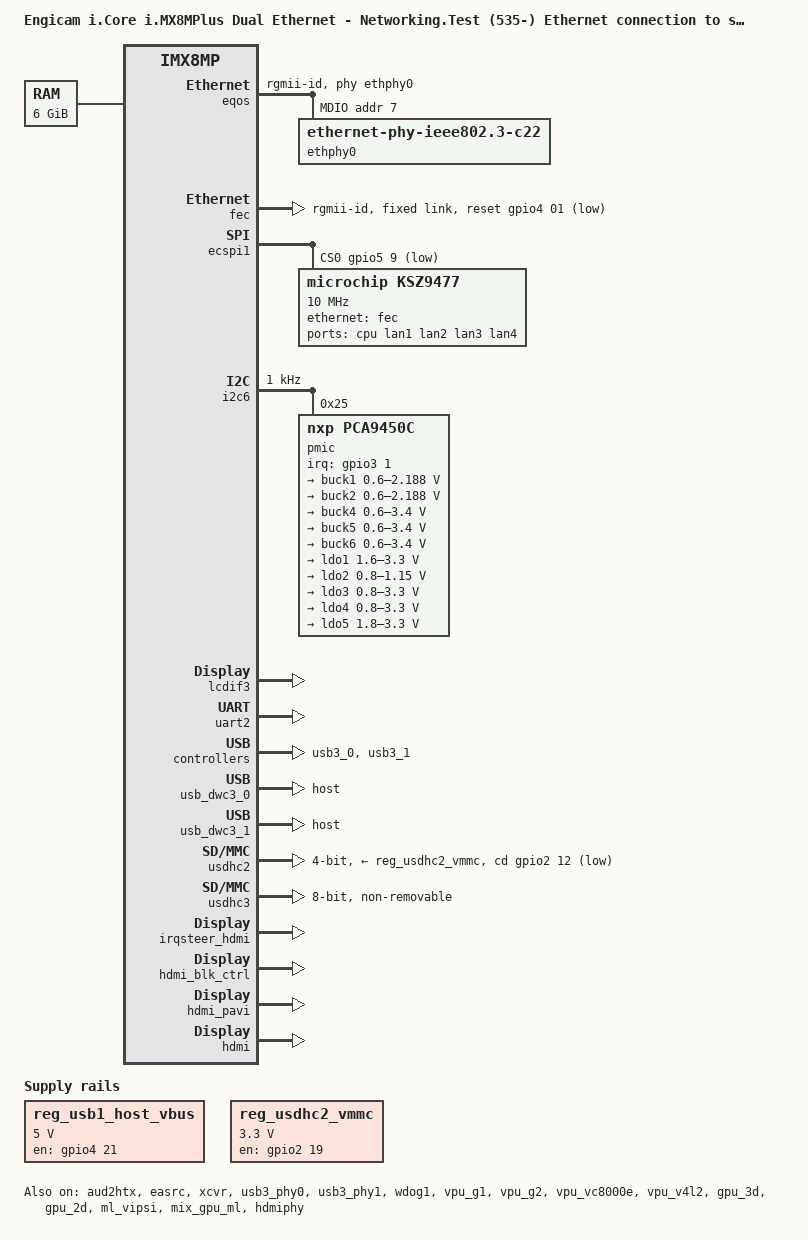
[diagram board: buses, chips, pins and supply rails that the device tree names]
// SPDX-License-Identifier: (GPL-2.0+ OR MIT)
/*
 * Copyright 2020 Engicam
 */

/dts-v1/;

#include <dt-bindings/usb/pd.h>
#include "../freescale/imx8mp.dtsi"


/ {
	model = "Engicam i.Core i.MX8MPlus  Dual Ethernet - Networking.Test (535-) Ethernet connection to switch";
	compatible = "engi,icore-imx8mp", "fsl,imx8mp";

	chosen {
		stdout-path = &uart2;
	};
	
	aliases {
		rtc1 = &snvs_rtc;
	};
		
	memory@40000000 {
		device_type = "memory";
		reg = <0x0 0x40000000 0 0xc0000000>,
		      <0x1 0x00000000 0 0xc0000000>;
	};

	reg_usb1_host_vbus: regulator-usb1-vbus {
		compatible = "regulator-fixed";
		regulator-name = "usb1_host_vbus";
		pinctrl-names = "default";
		pinctrl-0 = <&pinctrl_usb1_vbus>;
		regulator-min-microvolt = <5000000>;
		regulator-max-microvolt = <5000000>;
		gpio = <&gpio4 21 GPIO_ACTIVE_HIGH>;
		enable-active-high;
		regulator-always-on;
	};

	reg_usdhc2_vmmc: regulator-usdhc2 {
		compatible = "regulator-fixed";
		regulator-name = "VSD_3V3";
		regulator-min-microvolt = <3300000>;
		regulator-max-microvolt = <3300000>;
		gpio = <&gpio2 19 GPIO_ACTIVE_HIGH>;
		enable-active-high;
		startup-delay-us = <100>;
		off-on-delay-us = <12000>;
	};

	sound-hdmi {
		compatible = "fsl,imx-audio-cdnhdmi";
		model = "audio-hdmi";
		audio-cpu = <&aud2htx>;
		hdmi-out;
		constraint-rate = <44100>,
				<88200>,
				<176400>,
				<32000>,
				<48000>,
				<96000>,
				<192000>;
		status = "okay";
	};

};

&aud2htx {
	status = "okay";
};

&clk {
	init-on-array = <IMX8MP_CLK_HSIO_ROOT>;
};

&A53_0 {
	cpu-supply = <&buck2>;
};

&A53_1 {
	cpu-supply = <&buck2>;
};

&A53_2 {
	cpu-supply = <&buck2>;
};

&A53_3 {
	cpu-supply = <&buck2>;
};

&eqos {
	pinctrl-names = "default";
	pinctrl-0 = <&pinctrl_eqos>;
	phy-mode = "rgmii-id";
	phy-handle = <&ethphy0>;
	snps,force_thresh_dma_mode;
	snps,mtl-tx-config = <&mtl_tx_setup>;
	snps,mtl-rx-config = <&mtl_rx_setup>;
	status = "okay";

	mdio {
		compatible = "snps,dwmac-mdio";
		#address-cells = <1>;
		#size-cells = <0>;

		ethphy0: ethernet-phy@7 {
			compatible = "ethernet-phy-ieee802.3-c22";
			reg = <7>;
			eee-broken-1000t;
			realtek,clkout-disable;
		};
	};

	mtl_tx_setup: tx-queues-config {
		snps,tx-queues-to-use = <5>;
		snps,tx-sched-sp;
		queue0 {
			snps,dcb-algorithm;
			snps,priority = <0x1>;
		};
		queue1 {
			snps,dcb-algorithm;
			snps,priority = <0x2>;
		};
		queue2 {
			snps,dcb-algorithm;
			snps,priority = <0x4>;
		};
		queue3 {
			snps,dcb-algorithm;
			snps,priority = <0x8>;
		};
		queue4 {
			snps,dcb-algorithm;
			snps,priority = <0xf0>;
		};
	};
	mtl_rx_setup: rx-queues-config {
		snps,rx-queues-to-use = <5>;
		snps,rx-sched-sp;
		queue0 {
			snps,dcb-algorithm;
			snps,priority = <0x1>;
			snps,map-to-dma-channel = <0>;
		};
		queue1 {
			snps,dcb-algorithm;
			snps,priority = <0x2>;
			snps,map-to-dma-channel = <1>;
		};
		queue2 {
			snps,dcb-algorithm;
			snps,priority = <0x4>;
			snps,map-to-dma-channel = <2>;
		};
		queue3 {
			snps,dcb-algorithm;
			snps,priority = <0x8>;
			snps,map-to-dma-channel = <3>;
		};
		queue4 {
			snps,dcb-algorithm;
			snps,priority = <0xf0>;
			snps,map-to-dma-channel = <4>;
		};
	};
};

&fec {
	pinctrl-names = "default";
	pinctrl-0 = <&pinctrl_fec>;
	phy-mode = "rgmii-id";
	fsl,magic-packet;
	status = "okay";

	snps,reset-gpio = <&gpio4 01 GPIO_ACTIVE_LOW>;
	snps,reset-active-low;

	fixed-link {
	    speed = <1000>;
	    full-duplex;
	};
};


&ecspi1{

       fsl,spi-num-chipselects = <1>;
       pinctrl-names = "default";
       pinctrl-0 = <&pinctrl_ecspi1 &pinctrl_ecspi1_cs>;
       cs-gpios = <&gpio5 9 GPIO_ACTIVE_LOW>;
       id = <1>;
       status = "okay";

       ksz9477: ksz9477@0 {
               compatible = "microchip,ksz9477";
               #address-cells = <1>;
               #size-cells = <0>;
               reg = <0>;

               spi-max-frequency = <10000000>;
               spi-cpha;
               spi-cpol;
               status = "okay";

               ports {
                       #address-cells = <1>;
                       #size-cells = <0>;
                       
                       //Phy Mode
                       port@0 {
                               reg = <0>;
                               label = "cpu";
                               ethernet = <&fec>;
                               fixed-link {
                                       speed = <1000>;
                                       full-duplex;
                               };
                       };
                       port@1 {
                               reg = <1>;
                               label = "lan1";
                       };

                       port@2 {
                               reg = <2>;
                               label = "lan2";
                       };

                       port@3 {
                               reg = <3>;
                               label = "lan3";
                       };

                       port@4 {
                               reg = <4>;
                               label = "lan4";
                       };
               };
       };
};

&i2c6 {
	clock-frequency = <1000>;
	pinctrl-names = "default";
	pinctrl-0 = <&pinctrl_i2c6>;
	status = "okay";

	pmic@25 {
		compatible = "nxp,pca9450c";
		reg = <0x25>;
		pinctrl-names = "default";
		pinctrl-0 = <&pinctrl_pmic>;
		interrupt-parent = <&gpio3>;
		interrupts = <1 IRQ_TYPE_LEVEL_LOW>;
		engi,wdog_b-warm-reset;

		regulators {
			buck1: BUCK1 {
				regulator-name = "BUCK1";
				regulator-min-microvolt = <600000>;
				regulator-max-microvolt = <2187500>;
				regulator-boot-on;
				regulator-always-on;
				regulator-ramp-delay = <3125>;
			};

			buck2: BUCK2 {
				regulator-name = "BUCK2";
				regulator-min-microvolt = <600000>;
				regulator-max-microvolt = <2187500>;
				regulator-boot-on;
				regulator-always-on;
				regulator-ramp-delay = <3125>;
				nxp,dvs-run-voltage = <950000>;
				nxp,dvs-standby-voltage = <850000>;
			};

			buck4: BUCK4{
				regulator-name = "BUCK4";
				regulator-min-microvolt = <600000>;
				regulator-max-microvolt = <3400000>;
				regulator-boot-on;
				regulator-always-on;
			};

			buck5: BUCK5{
				regulator-name = "BUCK5";
				regulator-min-microvolt = <600000>;
				regulator-max-microvolt = <3400000>;
				regulator-boot-on;
				regulator-always-on;
			};

			buck6: BUCK6 {
				regulator-name = "BUCK6";
				regulator-min-microvolt = <600000>;
				regulator-max-microvolt = <3400000>;
				regulator-boot-on;
				regulator-always-on;
			};

			ldo1: LDO1 {
				regulator-name = "LDO1";
				regulator-min-microvolt = <1600000>;
				regulator-max-microvolt = <3300000>;
				regulator-boot-on;
				regulator-always-on;
			};

			ldo2: LDO2 {
				regulator-name = "LDO2";
				regulator-min-microvolt = <800000>;
				regulator-max-microvolt = <1150000>;
				regulator-boot-on;
				regulator-always-on;
			};

			ldo3: LDO3 {
				regulator-name = "LDO3";
				regulator-min-microvolt = <800000>;
				regulator-max-microvolt = <3300000>;
				regulator-boot-on;
				regulator-always-on;
			};

			ldo4: LDO4 {
				regulator-name = "LDO4";
				regulator-min-microvolt = <800000>;
				regulator-max-microvolt = <3300000>;
				regulator-boot-on;
				regulator-always-on;
			};

			ldo5: LDO5 {
				regulator-name = "LDO5";
				regulator-min-microvolt = <1800000>;
				regulator-max-microvolt = <3300000>;
				regulator-boot-on;
				regulator-always-on;
			};
		};
	};
};

&lcdif3 {
	status = "okay";
};

&easrc {
	fsl,asrc-rate  = <48000>;
	status = "okay";
};

&xcvr {
	#sound-dai-cells = <0>;
	status = "okay";
};

&sdma2 {
	status = "okay";
};

&uart2 {/* console */
	pinctrl-names = "default";
	pinctrl-0 = <&pinctrl_uart2>;
	status = "okay";
};

&usb3_phy0 {
	status = "okay";
};

&usb3_0 {
	status = "okay";
};

&usb_dwc3_0 {
	dr_mode = "host";
	status = "okay";
};

&usb3_phy1 {
	status = "okay";
};

&usb3_1 {
	status = "okay";
};

&usb_dwc3_1 {
	dr_mode = "host";
	status = "okay";
};

/* SDCARD */
&usdhc2 {
	pinctrl-names = "default";
	pinctrl-0 = <&pinctrl_usdhc2>, <&pinctrl_usdhc2_gpio>;
	cd-gpios = <&gpio2 12 GPIO_ACTIVE_LOW>;
	vmmc-supply = <&reg_usdhc2_vmmc>;
 	no-1-8-v;
	max-frequency = <35000000>;
	bus-width = <4>;
	status = "okay";
};

/* EMMC */
&usdhc3 {
	pinctrl-names = "default", "state_100mhz", "state_200mhz";
	pinctrl-0 = <&pinctrl_usdhc3>;
	pinctrl-1 = <&pinctrl_usdhc3_100mhz>;
	pinctrl-2 = <&pinctrl_usdhc3_200mhz>;
	bus-width = <8>;
	non-removable;
	status = "okay";
};

&wdog1 {
	pinctrl-names = "default";
	pinctrl-0 = <&pinctrl_wdog>;
	fsl,ext-reset-output;
	status = "okay";
};

&iomuxc {
	pinctrl-names = "default";
	pinctrl-0 = <&pinctrl_hog>;

	pinctrl_hog: hoggrp {
		fsl,pins = <
			MX8MP_IOMUXC_HDMI_DDC_SCL__HDMIMIX_HDMI_SCL	0x400001c3
			MX8MP_IOMUXC_HDMI_DDC_SDA__HDMIMIX_HDMI_SDA	0x400001c3
			MX8MP_IOMUXC_HDMI_HPD__HDMIMIX_HDMI_HPD		0x40000019
			MX8MP_IOMUXC_HDMI_CEC__HDMIMIX_HDMI_CEC		0x40000019
		>;
	};

	pinctrl_eqos: eqosgrp {
		fsl,pins = <
			MX8MP_IOMUXC_ENET_MDC__ENET_QOS_MDC	0x3
			MX8MP_IOMUXC_ENET_MDIO__ENET_QOS_MDIO	0x3
			MX8MP_IOMUXC_ENET_RD0__ENET_QOS_RGMII_RD0	0x91
			MX8MP_IOMUXC_ENET_RD1__ENET_QOS_RGMII_RD1	0x91
			MX8MP_IOMUXC_ENET_RD2__ENET_QOS_RGMII_RD2	0x91
			MX8MP_IOMUXC_ENET_RD3__ENET_QOS_RGMII_RD3	0x91
			MX8MP_IOMUXC_ENET_RXC__CCM_ENET_QOS_CLOCK_GENERATE_RX_CLK	0x91
			MX8MP_IOMUXC_ENET_RX_CTL__ENET_QOS_RGMII_RX_CTL	0x91
			MX8MP_IOMUXC_ENET_TD0__ENET_QOS_RGMII_TD0		0x1f
			MX8MP_IOMUXC_ENET_TD1__ENET_QOS_RGMII_TD1		0x1f
			MX8MP_IOMUXC_ENET_TD2__ENET_QOS_RGMII_TD2		0x1f
			MX8MP_IOMUXC_ENET_TD3__ENET_QOS_RGMII_TD3		0x1f
			MX8MP_IOMUXC_ENET_TX_CTL__ENET_QOS_RGMII_TX_CTL	0x1f
			MX8MP_IOMUXC_ENET_TXC__CCM_ENET_QOS_CLOCK_GENERATE_TX_CLK	0x1f
			MX8MP_IOMUXC_NAND_DATA01__GPIO3_IO07	0x19
		>;
	};

	pinctrl_fec: fecgrp {
		fsl,pins = <
			MX8MP_IOMUXC_SAI1_RXD2__ENET1_MDC		0x3
			MX8MP_IOMUXC_SAI1_RXD3__ENET1_MDIO		0x3
			MX8MP_IOMUXC_SAI1_RXD4__ENET1_RGMII_RD0		0x91
			MX8MP_IOMUXC_SAI1_RXD5__ENET1_RGMII_RD1		0x91
			MX8MP_IOMUXC_SAI1_RXD6__ENET1_RGMII_RD2		0x91
			MX8MP_IOMUXC_SAI1_RXD7__ENET1_RGMII_RD3		0x91
			MX8MP_IOMUXC_SAI1_TXC__ENET1_RGMII_RXC		0x91
			MX8MP_IOMUXC_SAI1_TXFS__ENET1_RGMII_RX_CTL	0x91
			MX8MP_IOMUXC_SAI1_TXD0__ENET1_RGMII_TD0		0x1f
			MX8MP_IOMUXC_SAI1_TXD1__ENET1_RGMII_TD1		0x1f
			MX8MP_IOMUXC_SAI1_TXD2__ENET1_RGMII_TD2		0x1f
			MX8MP_IOMUXC_SAI1_TXD3__ENET1_RGMII_TD3		0x1f
			MX8MP_IOMUXC_SAI1_TXD4__ENET1_RGMII_TX_CTL	0x1f
			MX8MP_IOMUXC_SAI1_TXD5__ENET1_RGMII_TXC		0x1f
			MX8MP_IOMUXC_SAI1_RXC__GPIO4_IO01 		0x19
		>;
	};

	pinctrl_i2c6: i2c6grp {
		fsl,pins = <
			MX8MP_IOMUXC_SAI5_RXFS__I2C6_SCL		0x400001c2
			MX8MP_IOMUXC_SAI5_RXC__I2C6_SDA		0x400001c2
		>;
	};

	pinctrl_i2c2: i2c2grp {
		fsl,pins = <
			MX8MP_IOMUXC_I2C2_SCL__I2C2_SCL		0x400001c2
			MX8MP_IOMUXC_I2C2_SDA__I2C2_SDA		0x400001c2
		>;
	};

	pinctrl_i2c3: i2c3grp {
		fsl,pins = <
			MX8MP_IOMUXC_I2C3_SCL__I2C3_SCL		0x400001c2
			MX8MP_IOMUXC_I2C3_SDA__I2C3_SDA		0x400001c2
		>;
	};

	pinctrl_pcie: pciegrp {
		fsl,pins = <
			MX8MP_IOMUXC_GPIO1_IO07__GPIO1_IO07	0x41
		>;
	};

	pinctrl_pmic: pmicirq {
		fsl,pins = <
			MX8MP_IOMUXC_NAND_CE0_B__GPIO3_IO01	0x000001c0
		>;
	};

	pinctrl_sai3: sai3grp {
		fsl,pins = <
			MX8MP_IOMUXC_SAI3_TXFS__AUDIOMIX_SAI3_TX_SYNC	0xd6
			MX8MP_IOMUXC_SAI3_TXC__AUDIOMIX_SAI3_TX_BCLK	0xd6
			MX8MP_IOMUXC_SAI3_RXD__AUDIOMIX_SAI3_RX_DATA00	0xd6
			MX8MP_IOMUXC_SAI3_TXD__AUDIOMIX_SAI3_TX_DATA00	0xd6
		>;
	};

	pinctrl_uart1: uart1grp {
		fsl,pins = <
			MX8MP_IOMUXC_UART1_RXD__UART1_DCE_RX	0x140
			MX8MP_IOMUXC_UART1_TXD__UART1_DCE_TX	0x140
		>;
	};

	pinctrl_uart2: uart2grp {
		fsl,pins = <
			MX8MP_IOMUXC_UART2_RXD__UART2_DCE_RX	0x49
			MX8MP_IOMUXC_UART2_TXD__UART2_DCE_TX	0x49
		>;
	};

	pinctrl_uart3: uart3grp {
		fsl,pins = <
			MX8MP_IOMUXC_SD1_DATA7__UART3_DCE_RX	0x140
			MX8MP_IOMUXC_SD1_DATA6__UART3_DCE_TX	0x140
			MX8MP_IOMUXC_SD1_STROBE__UART3_DCE_CTS	0x140
			MX8MP_IOMUXC_SD1_RESET_B__UART3_DCE_RTS 0x140
		>;
	};

	pinctrl_usb1_vbus: usb1grp {
		fsl,pins = <
			MX8MP_IOMUXC_SAI2_RXFS__GPIO4_IO21	0x19
		>;
	};

	pinctrl_usdhc1: usdhc1grp {
		fsl,pins = <
			MX8MP_IOMUXC_SD1_CLK__USDHC1_CLK	0x194
			MX8MP_IOMUXC_SD1_CMD__USDHC1_CMD	0x1d4
			MX8MP_IOMUXC_SD1_DATA0__USDHC1_DATA0	0x1d4
			MX8MP_IOMUXC_SD1_DATA1__USDHC1_DATA1	0x1d4
			MX8MP_IOMUXC_SD1_DATA2__USDHC1_DATA2	0x1d4
			MX8MP_IOMUXC_SD1_DATA3__USDHC1_DATA3	0x1d4
		>;
	};

	pinctrl_usdhc2: usdhc2grp {
		fsl,pins = <
			MX8MP_IOMUXC_SD2_CLK__USDHC2_CLK	0x190
			MX8MP_IOMUXC_SD2_CMD__USDHC2_CMD	0x1d0
			MX8MP_IOMUXC_SD2_DATA0__USDHC2_DATA0	0x1d0
			MX8MP_IOMUXC_SD2_DATA1__USDHC2_DATA1	0x1d0
			MX8MP_IOMUXC_SD2_DATA2__USDHC2_DATA2	0x1d0
			MX8MP_IOMUXC_SD2_DATA3__USDHC2_DATA3	0x1d0
			MX8MP_IOMUXC_GPIO1_IO04__USDHC2_VSELECT	0xc1
		>;
	};

	pinctrl_usdhc2_gpio: usdhc2gpiogrp {
		fsl,pins = <
			MX8MP_IOMUXC_SD2_CD_B__GPIO2_IO12 	0x1c4
		>;
	};

	pinctrl_usdhc3: usdhc3grp {
		fsl,pins = <
			MX8MP_IOMUXC_NAND_WE_B__USDHC3_CLK	0x190
			MX8MP_IOMUXC_NAND_WP_B__USDHC3_CMD	0x1d0
			MX8MP_IOMUXC_NAND_DATA04__USDHC3_DATA0	0x1d0
			MX8MP_IOMUXC_NAND_DATA05__USDHC3_DATA1	0x1d0
			MX8MP_IOMUXC_NAND_DATA06__USDHC3_DATA2	0x1d0
			MX8MP_IOMUXC_NAND_DATA07__USDHC3_DATA3	0x1d0
			MX8MP_IOMUXC_NAND_RE_B__USDHC3_DATA4	0x1d0
			MX8MP_IOMUXC_NAND_CE2_B__USDHC3_DATA5	0x1d0
			MX8MP_IOMUXC_NAND_CE3_B__USDHC3_DATA6	0x1d0
			MX8MP_IOMUXC_NAND_CLE__USDHC3_DATA7	0x1d0
			MX8MP_IOMUXC_NAND_CE1_B__USDHC3_STROBE	0x190
		>;
	};

	pinctrl_usdhc3_100mhz: usdhc3grp-100mhz {
		fsl,pins = <
			MX8MP_IOMUXC_NAND_WE_B__USDHC3_CLK	0x194
			MX8MP_IOMUXC_NAND_WP_B__USDHC3_CMD	0x1d4
			MX8MP_IOMUXC_NAND_DATA04__USDHC3_DATA0	0x1d4
			MX8MP_IOMUXC_NAND_DATA05__USDHC3_DATA1	0x1d4
			MX8MP_IOMUXC_NAND_DATA06__USDHC3_DATA2	0x1d4
			MX8MP_IOMUXC_NAND_DATA07__USDHC3_DATA3	0x1d4
			MX8MP_IOMUXC_NAND_RE_B__USDHC3_DATA4	0x1d4
			MX8MP_IOMUXC_NAND_CE2_B__USDHC3_DATA5	0x1d4
			MX8MP_IOMUXC_NAND_CE3_B__USDHC3_DATA6	0x1d4
			MX8MP_IOMUXC_NAND_CLE__USDHC3_DATA7	0x1d4
			MX8MP_IOMUXC_NAND_CE1_B__USDHC3_STROBE	0x194
		>;
	};

	pinctrl_usdhc3_200mhz: usdhc3grp-200mhz {
		fsl,pins = <
			MX8MP_IOMUXC_NAND_WE_B__USDHC3_CLK	0x196
			MX8MP_IOMUXC_NAND_WP_B__USDHC3_CMD	0x1d6
			MX8MP_IOMUXC_NAND_DATA04__USDHC3_DATA0	0x1d6
			MX8MP_IOMUXC_NAND_DATA05__USDHC3_DATA1	0x1d6
			MX8MP_IOMUXC_NAND_DATA06__USDHC3_DATA2	0x1d6
			MX8MP_IOMUXC_NAND_DATA07__USDHC3_DATA3	0x1d6
			MX8MP_IOMUXC_NAND_RE_B__USDHC3_DATA4	0x1d6
			MX8MP_IOMUXC_NAND_CE2_B__USDHC3_DATA5	0x1d6
			MX8MP_IOMUXC_NAND_CE3_B__USDHC3_DATA6	0x1d6
			MX8MP_IOMUXC_NAND_CLE__USDHC3_DATA7	0x1d6
			MX8MP_IOMUXC_NAND_CE1_B__USDHC3_STROBE	0x196
		>;
	};

	pinctrl_wdog: wdoggrp {
		fsl,pins = <
			MX8MP_IOMUXC_GPIO1_IO02__WDOG1_WDOG_B	0x166
		>;
	};

	pinctrl_ecspi1: ecspi1grp {
		fsl,pins = <
				MX8MP_IOMUXC_ECSPI1_SCLK__ECSPI1_SCLK           0x82
				MX8MP_IOMUXC_ECSPI1_MOSI__ECSPI1_MOSI           0x82
				MX8MP_IOMUXC_ECSPI1_MISO__ECSPI1_MISO           0x82
				MX8MP_IOMUXC_GPIO1_IO01__GPIO1_IO01             0x41
		>;
	};

	pinctrl_ecspi1_cs: ecspi1cs {
		fsl,pins = <
					MX8MP_IOMUXC_ECSPI1_SS0__GPIO5_IO09  0x40000
		>;
	};
};

&vpu_g1 {
	status = "okay";
};

&vpu_g2 {
	status = "okay";
};

&vpu_vc8000e {
	status = "okay";
};

&vpu_v4l2 {
	status = "okay";
};

&gpu_3d {
	status = "okay";
};

&gpu_2d {
	status = "okay";
};

&ml_vipsi {
	status = "okay";
};

&mix_gpu_ml {
	status = "okay";
};

&irqsteer_hdmi {
	status = "okay";
};

&hdmi_blk_ctrl {
	status = "okay";
};

&hdmi_pavi {
	status = "okay";
};

&hdmi {
	status = "okay";
};

&hdmiphy {
	status = "okay";
};

&lcdif3 {
	status = "okay";
	thres-low  = <1 2>;             /* (FIFO * 1 / 2) */
	thres-high = <3 4>;             /* (FIFO * 3 / 4) */
};

